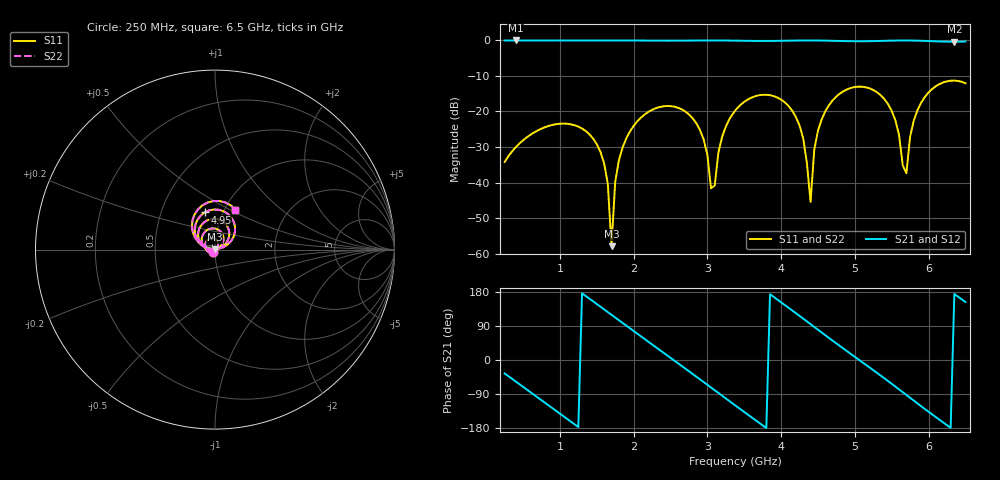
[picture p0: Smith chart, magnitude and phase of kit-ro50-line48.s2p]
! NobuRF kit-ro50-line48: ports 1 "p1", 2 "p2"; 5700 + 5700 steps
# GHz S RI R 50
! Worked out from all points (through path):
!   126 points, 250 MHz to 6.5 GHz, reference 50 ohm
!   highest |S21| = -0.01 dB at 400 MHz (marker M1); lowest = -0.4 dB at 6.35 GHz (marker M2)
!   group delay of S21, straight-line fit = 396 ps
!   lowest |S11| = -57.9 dB at 1.7 GHz (marker M3), VSWR 1.00, Z = 49.9 + j0.107 ohm
!   |S11| at or under -10 dB: start of sweep to end of sweep
!   |S22| runs from -57.9 to -11.3 dB; largest |S21 - S12| = 5.4e-07
!   S11 on the Smith chart (normalised r, x): 250 MHz: 0.98, -0.03; 4.95 GHz: 0.82, +0.36; 6.5 GHz: 1.12, +0.53
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0.25  -0.0113 -0.0158  0.8141 -0.5789  0.8141 -0.5789  -0.0113 -0.0158
0.4  -0.0261 -0.0172  0.5496 -0.8342  0.5496 -0.8342  -0.0261 -0.0172
0.8  -0.0553 0.0237  -0.394 -0.9174  -0.394 -0.9174  -0.0553 0.0237
1.3  0.00366 0.0575  -0.9953 0.0694  -0.9953 0.0694  0.00366 0.0575
1.6  0.0127 0.0136  -0.6872 0.7246  -0.6872 0.7246  0.0127 0.0136
1.7  -0.000682 0.00107  -0.4883 0.8713  -0.4883 0.8713  -0.000682 0.00107
1.75  -0.00983 -0.00263  -0.3766 0.9251  -0.3766 0.9251  -0.00983 -0.00263
1.85  -0.0309 -0.00316  -0.1375 0.989  -0.1375 0.989  -0.0309 -0.00316
2.35  -0.0525 0.1026  0.8851 0.4497  0.8851 0.4497  -0.0525 0.1026
2.85  0.0468 0.0497  0.7176 -0.6915  0.7176 -0.6915  0.0468 0.0497
3.05  0.00724 0.00403  0.2983 -0.9529  0.2983 -0.9529  0.00724 0.00403
3.4  -0.0916 0.0605  -0.5385 -0.8332  -0.5385 -0.8332  -0.0916 0.0605
4.1  0.0798 0.0893  -0.7368 0.6637  -0.7368 0.6637  0.0798 0.0893
4.3  0.0389 0.0153  -0.3263 0.9429  -0.3263 0.9429  0.0389 0.0153
4.4  -0.00508 0.00161  -0.0785 0.9954  -0.0785 0.9954  -0.00508 0.00161
4.45  -0.029 0.00332  0.0486 0.9969  0.0486 0.9969  -0.029 0.00332
4.95  -0.0581 0.2068  0.9401 0.2588  0.9401 0.2588  -0.0581 0.2068
5.5  0.0902 0.0483  0.4542 -0.883  0.4542 -0.883  0.0902 0.0483
5.7  -0.0131 0.00321  -0.0407 -0.9968  -0.0407 -0.9968  -0.0131 0.00321
5.9  -0.1128 0.0701  -0.5228 -0.839  -0.5228 -0.839  -0.1128 0.0701
6.35  0.026 0.2707  -0.9544 0.0986  -0.9544 0.0986  0.026 0.2707
6.5  0.1128 0.2233  -0.8609 0.4365  -0.8609 0.4365  0.1128 0.2233
